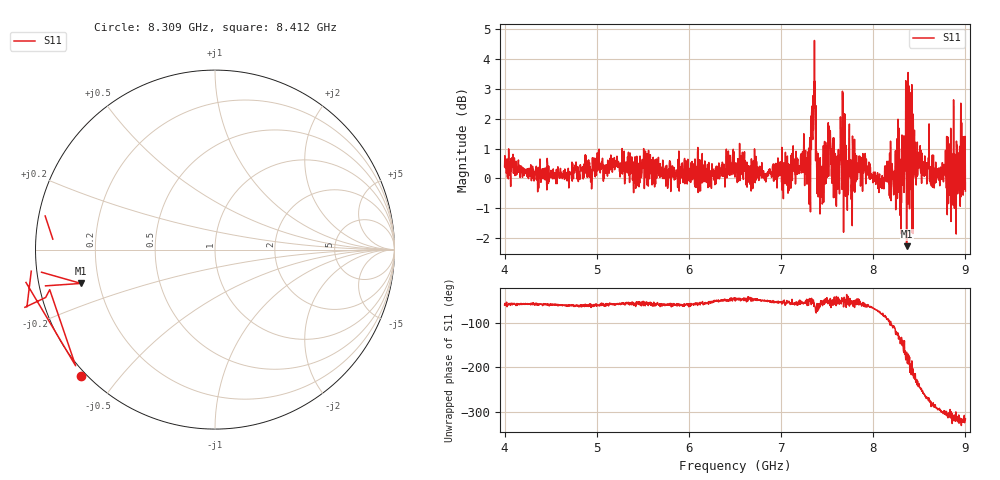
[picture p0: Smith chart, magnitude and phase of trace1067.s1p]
! Created with skrf 1.8.0 (http://scikit-rf.org).
# Hz S RI R 50.0
!freq ReS11 ImS11
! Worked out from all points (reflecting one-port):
!   1601 points, 4 GHz to 9 GHz, reference 50 ohm
!   lowest |S11| = -2.3 dB at 8.362 GHz (marker M1), VSWR 7.69, Z = 6.6 - j6.11 ohm
!   phase of S11 starts at -59 deg and turns -258 deg over the sweep
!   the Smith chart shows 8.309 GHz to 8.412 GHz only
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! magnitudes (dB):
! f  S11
! 4 GHz  0.4
! 4.625 GHz  0.0
! 5.25 GHz  0.3
! 5.875 GHz  0.1
! 6.5 GHz  0.0
! 7.125 GHz  0.4
! 7.294 GHz  0.8
! 7.328 GHz  1.0
! 7.347 GHz  2.8
! 7.375 GHz  0.6
! 7.406 GHz  -0.5
! 7.428 GHz  -0.3
! 7.525 GHz  1.5
! 7.609 GHz  0.7
! 7.669 GHz  1.7
! 7.703 GHz  0.6
! 7.75 GHz  0.6
! 8.312 GHz  1.5
! 8.331 GHz  -0.2
! 8.35 GHz  0.3
! 8.362 GHz  -2.3
! 8.375 GHz  -0.9
! 8.394 GHz  -1.0
! 8.447 GHz  1.6
! 8.459 GHz  0.1
! 8.638 GHz  0.2
! 8.972 GHz  0.3
! 9 GHz  -0.4
